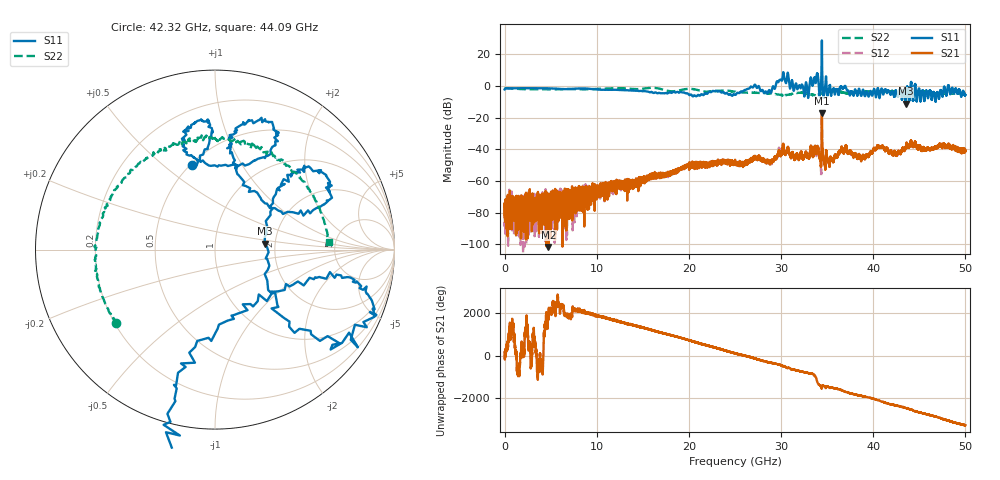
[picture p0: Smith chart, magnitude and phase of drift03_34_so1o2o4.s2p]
!Created with skrf (http://scikit-rf.org).
# Hz S RI R 50.0
!freq ReS11 ImS11 ReS21 ImS21 ReS12 ImS12 ReS22 ImS22
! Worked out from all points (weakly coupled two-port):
!   10000 points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, 5.3 MHz to 50 GHz, reference 50 ohm
!   highest |S21| = -17.24 dB at 34.43 GHz (marker M1); lowest = -101.7 dB at 4.76 GHz (marker M2)
!   lowest |S11| = -11.1 dB at 43.52 GHz (marker M3), VSWR 1.77, Z = 88 + j6.45 ohm
!   |S11| at or under -10 dB: 43.49228 GHz to 43.55136 GHz (59.08 MHz wide, 0.136 % of centre)
!   |S22| runs from -5.8 to -1.1 dB; largest |S21 - S12| = 0.037
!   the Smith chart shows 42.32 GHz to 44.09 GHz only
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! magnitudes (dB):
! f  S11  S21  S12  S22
! 5.3 MHz  -2.1  -74.3  -77.7  -1.3
! 4.76 GHz  -1.4  -101.7  -71.0  -2.1
! 8.34 GHz  -1.5  -67.4  -71.1  -2.1
! 16.67 GHz  -4.4  -56.2  -57.2  -1.5
! 20.33 GHz  -5.8  -49.6  -49.9  -1.8
! 25.01 GHz  -5.5  -49.8  -49.1  -3.5
! 27.02 GHz  -0.3  -46.1  -45.3  -4.3
! 28.72 GHz  -2.5  -47.9  -47.6  -4.5
! 30.14 GHz  4.4  -40.0  -40.5  -5.7
! 32.74 GHz  2.0  -42.0  -42.1  -4.6
! 33.34 GHz  2.6  -39.9  -40.5  -5.6
! 33.82 GHz  4.0  -42.3  -41.9  -5.7
! 34.43 GHz  28.8  -17.2  -18.9  -4.6
! 35.39 GHz  -4.1  -45.2  -45.6  -3.3
! 36.85 GHz  -0.6  -41.0  -41.5  -4.3
! 38.87 GHz  -2.5  -43.7  -44.0  -3.2
! 40.61 GHz  -4.7  -38.0  -38.4  -4.0
! 41.67 GHz  -3.1  -41.9  -42.0  -3.3
! 43.52 GHz  -11.1  -38.6  -38.9  -4.0
! 46.94 GHz  -4.0  -38.2  -38.5  -4.7
! 48.32 GHz  -4.5  -38.4  -37.8  -4.6
! 50 GHz  -5.4  -41.0  -40.1  -4.5
